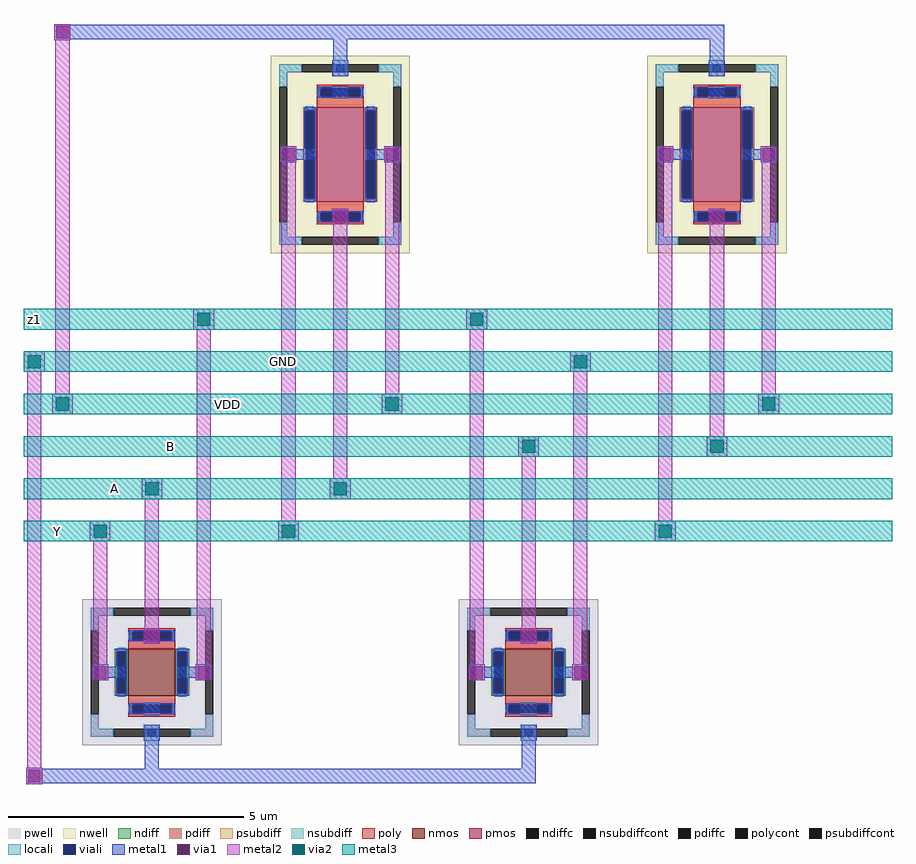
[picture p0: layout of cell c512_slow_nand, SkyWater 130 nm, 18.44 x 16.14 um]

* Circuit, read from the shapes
.subckt c512_slow_nand Y A B VDD GND
XM1 z1 A Y GND sky130_fd_pr__nfet_01v8 w=1 l=1
XM2 GND B z1 GND sky130_fd_pr__nfet_01v8 w=1 l=1
XM3 VDD A Y VDD sky130_fd_pr__pfet_01v8 w=2 l=1
XM4 VDD B Y VDD sky130_fd_pr__pfet_01v8 w=2 l=1
.ends

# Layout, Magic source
magic
tech sky130A
magscale 1 2
<< nwell >>
rect 1104 1781 1696 2619
rect 2704 1781 3296 2619
<< pmos >>
rect 1300 2000 1500 2400
rect 2900 2000 3100 2400
<< pdiff >>
rect 1242 2388 1300 2400
rect 1242 2012 1254 2388
rect 1288 2012 1300 2388
rect 1242 2000 1300 2012
rect 1500 2388 1558 2400
rect 1500 2012 1512 2388
rect 1546 2012 1558 2388
rect 1500 2000 1558 2012
rect 2842 2388 2900 2400
rect 2842 2012 2854 2388
rect 2888 2012 2900 2388
rect 2842 2000 2900 2012
rect 3100 2388 3158 2400
rect 3100 2012 3112 2388
rect 3146 2012 3158 2388
rect 3100 2000 3158 2012
<< pdiffc >>
rect 1254 2012 1288 2388
rect 1512 2012 1546 2388
rect 2854 2012 2888 2388
rect 3112 2012 3146 2388
<< nsubdiff >>
rect 1140 2549 1236 2583
rect 1564 2549 1660 2583
rect 1140 2487 1174 2549
rect 1626 2487 1660 2549
rect 1140 1851 1174 1913
rect 1626 1851 1660 1913
rect 1140 1817 1236 1851
rect 1564 1817 1660 1851
rect 2740 2549 2836 2583
rect 3164 2549 3260 2583
rect 2740 2487 2774 2549
rect 3226 2487 3260 2549
rect 2740 1851 2774 1913
rect 3226 1851 3260 1913
rect 2740 1817 2836 1851
rect 3164 1817 3260 1851
<< nsubdiffcont >>
rect 1236 2549 1564 2583
rect 1140 1913 1174 2487
rect 1626 1913 1660 2487
rect 1236 1817 1564 1851
rect 2836 2549 3164 2583
rect 2740 1913 2774 2487
rect 3226 1913 3260 2487
rect 2836 1817 3164 1851
<< poly >>
rect 1300 2481 1500 2497
rect 1300 2447 1316 2481
rect 1484 2447 1500 2481
rect 1300 2400 1500 2447
rect 1300 1953 1500 2000
rect 1300 1919 1316 1953
rect 1484 1919 1500 1953
rect 1300 1903 1500 1919
rect 2900 2481 3100 2497
rect 2900 2447 2916 2481
rect 3084 2447 3100 2481
rect 2900 2400 3100 2447
rect 2900 1953 3100 2000
rect 2900 1919 2916 1953
rect 3084 1919 3100 1953
rect 2900 1903 3100 1919
rect 500 172 700 188
rect 500 138 516 172
rect 684 138 700 172
rect 500 100 700 138
rect 500 -138 700 -100
rect 500 -172 516 -138
rect 684 -172 700 -138
rect 500 -188 700 -172
rect 2100 172 2300 188
rect 2100 138 2116 172
rect 2284 138 2300 172
rect 2100 100 2300 138
rect 2100 -138 2300 -100
rect 2100 -172 2116 -138
rect 2284 -172 2300 -138
rect 2100 -188 2300 -172
<< polycont >>
rect 1316 2447 1484 2481
rect 1316 1919 1484 1953
rect 2916 2447 3084 2481
rect 2916 1919 3084 1953
rect 516 138 684 172
rect 516 -172 684 -138
rect 2116 138 2284 172
rect 2116 -172 2284 -138
<< locali >>
rect 1140 2549 1236 2583
rect 1564 2549 1660 2583
rect 1140 2487 1174 2549
rect 1626 2487 1660 2549
rect 1300 2447 1316 2481
rect 1484 2447 1500 2481
rect 1254 2388 1288 2404
rect 1254 1996 1288 2012
rect 1512 2388 1546 2404
rect 1512 1996 1546 2012
rect 1300 1919 1316 1953
rect 1484 1919 1500 1953
rect 1140 1851 1174 1913
rect 1626 1851 1660 1913
rect 1140 1817 1236 1851
rect 1564 1817 1660 1851
rect 1366 2532 1434 2600
rect 2740 2549 2836 2583
rect 3164 2549 3260 2583
rect 2740 2487 2774 2549
rect 3226 2487 3260 2549
rect 2900 2447 2916 2481
rect 3084 2447 3100 2481
rect 2854 2388 2888 2404
rect 2854 1996 2888 2012
rect 3112 2388 3146 2404
rect 3112 1996 3146 2012
rect 2900 1919 2916 1953
rect 3084 1919 3100 1953
rect 2740 1851 2774 1913
rect 3226 1851 3260 1913
rect 2740 1817 2836 1851
rect 3164 1817 3260 1851
rect 2966 2532 3034 2600
rect 340 240 436 274
rect 764 240 860 274
rect 340 178 374 240
rect 826 178 860 240
rect 500 138 516 172
rect 684 138 700 172
rect 454 88 488 104
rect 454 -104 488 -88
rect 712 88 746 104
rect 712 -104 746 -88
rect 500 -172 516 -138
rect 684 -172 700 -138
rect 340 -240 374 -178
rect 826 -240 860 -178
rect 340 -274 436 -240
rect 764 -274 860 -240
rect 566 -291 634 -223
rect 1940 240 2036 274
rect 2364 240 2460 274
rect 1940 178 1974 240
rect 2426 178 2460 240
rect 2100 138 2116 172
rect 2284 138 2300 172
rect 2054 88 2088 104
rect 2054 -104 2088 -88
rect 2312 88 2346 104
rect 2312 -104 2346 -88
rect 2100 -172 2116 -138
rect 2284 -172 2300 -138
rect 1940 -240 1974 -178
rect 2426 -240 2460 -178
rect 1940 -274 2036 -240
rect 2364 -274 2460 -240
rect 2166 -291 2234 -223
<< viali >>
rect 1316 2447 1484 2481
rect 1254 2012 1288 2388
rect 1512 2012 1546 2388
rect 1316 1919 1484 1953
rect 1383 2549 1417 2583
rect 2916 2447 3084 2481
rect 2854 2012 2888 2388
rect 3112 2012 3146 2388
rect 2916 1919 3084 1953
rect 2983 2549 3017 2583
rect 516 138 684 172
rect 454 -88 488 88
rect 712 -88 746 88
rect 516 -172 684 -138
rect 583 -274 617 -240
rect 2116 138 2284 172
rect 2054 -88 2088 88
rect 2312 -88 2346 88
rect 2116 -172 2284 -138
rect 2183 -274 2217 -240
<< metal1 >>
rect 1304 2481 1496 2487
rect 1304 2447 1316 2481
rect 1484 2447 1496 2481
rect 1304 2441 1496 2447
rect 1248 2388 1294 2400
rect 1248 2012 1254 2388
rect 1288 2012 1294 2388
rect 1248 2000 1294 2012
rect 1506 2388 1552 2400
rect 1506 2012 1512 2388
rect 1546 2012 1552 2388
rect 1506 2000 1552 2012
rect 1304 1953 1496 1959
rect 1304 1919 1316 1953
rect 1484 1919 1496 1953
rect 1304 1913 1496 1919
rect 1366 1910 1434 1962
rect 1366 2438 1434 2490
rect 1157 2177 1294 2223
rect 1146 2166 1214 2234
rect 1506 2177 1643 2223
rect 1586 2166 1654 2234
rect 1366 1910 1434 1962
rect 1366 2532 1434 2600
rect 1370 2536 1430 2750
rect 2904 2481 3096 2487
rect 2904 2447 2916 2481
rect 3084 2447 3096 2481
rect 2904 2441 3096 2447
rect 2848 2388 2894 2400
rect 2848 2012 2854 2388
rect 2888 2012 2894 2388
rect 2848 2000 2894 2012
rect 3106 2388 3152 2400
rect 3106 2012 3112 2388
rect 3146 2012 3152 2388
rect 3106 2000 3152 2012
rect 2904 1953 3096 1959
rect 2904 1919 2916 1953
rect 3084 1919 3096 1953
rect 2904 1913 3096 1919
rect 2966 1910 3034 1962
rect 2966 2438 3034 2490
rect 2757 2177 2894 2223
rect 2746 2166 2814 2234
rect 3106 2177 3243 2223
rect 3186 2166 3254 2234
rect 2966 1910 3034 1962
rect 2966 2532 3034 2600
rect 2970 2536 3030 2750
rect 504 172 696 178
rect 504 138 516 172
rect 684 138 696 172
rect 504 132 696 138
rect 448 88 494 100
rect 448 -88 454 88
rect 488 -88 494 88
rect 448 -100 494 -88
rect 706 88 752 100
rect 706 -88 712 88
rect 746 -88 752 88
rect 706 -100 752 -88
rect 504 -138 696 -132
rect 504 -172 516 -138
rect 684 -172 696 -138
rect 504 -178 696 -172
rect 566 -181 634 -129
rect 566 129 634 181
rect 357 -23 494 23
rect 346 -34 414 34
rect 706 -23 843 23
rect 786 -34 854 34
rect 566 129 634 181
rect 566 -291 634 -223
rect 570 -470 630 -227
rect 2104 172 2296 178
rect 2104 138 2116 172
rect 2284 138 2296 172
rect 2104 132 2296 138
rect 2048 88 2094 100
rect 2048 -88 2054 88
rect 2088 -88 2094 88
rect 2048 -100 2094 -88
rect 2306 88 2352 100
rect 2306 -88 2312 88
rect 2346 -88 2352 88
rect 2306 -100 2352 -88
rect 2104 -138 2296 -132
rect 2104 -172 2116 -138
rect 2284 -172 2296 -138
rect 2104 -178 2296 -172
rect 2166 -181 2234 -129
rect 2166 129 2234 181
rect 1957 -23 2094 23
rect 1946 -34 2014 34
rect 2306 -23 2443 23
rect 2386 -34 2454 34
rect 2166 129 2234 181
rect 2166 -291 2234 -223
rect 2170 -470 2230 -227
rect 190 2690 3030 2750
rect 186 2686 254 2754
rect 70 -470 2230 -410
rect 66 -474 134 -406
<< via1 >>
rect 1154 2174 1206 2226
rect 1594 2174 1646 2226
rect 1374 1910 1426 1962
rect 2754 2174 2806 2226
rect 3194 2174 3246 2226
rect 2974 1910 3026 1962
rect 354 -26 406 26
rect 794 -26 846 26
rect 574 129 626 181
rect 1954 -26 2006 26
rect 2394 -26 2446 26
rect 2174 129 2226 181
rect 194 2694 246 2746
rect 74 -466 126 -414
<< metal2 >>
rect 1146 2166 1214 2234
rect 1586 2166 1654 2234
rect 1366 1902 1434 1970
rect 2746 2166 2814 2234
rect 3186 2166 3254 2234
rect 2966 1902 3034 1970
rect 346 -34 414 34
rect 786 -34 854 34
rect 566 121 634 189
rect 1946 -34 2014 34
rect 2386 -34 2454 34
rect 2166 121 2234 189
rect 186 2686 254 2754
rect 66 -474 134 -406
rect 1150 570 1210 2230
rect 1136 556 1224 644
rect 2750 570 2810 2230
rect 2736 556 2824 644
rect 350 -30 410 630
rect 336 556 424 644
rect 1590 1110 1650 2230
rect 1576 1096 1664 1184
rect 3190 1110 3250 2230
rect 3176 1096 3264 1184
rect 190 1110 250 2750
rect 176 1096 264 1184
rect 1370 750 1430 1966
rect 1356 736 1444 824
rect 570 125 630 810
rect 556 736 644 824
rect 2970 930 3030 1966
rect 2956 916 3044 1004
rect 2170 125 2230 990
rect 2156 916 2244 1004
rect 790 -30 850 1530
rect 776 1456 864 1544
rect 1950 -30 2010 1530
rect 1936 1456 2024 1544
rect 2390 -30 2450 1350
rect 2376 1276 2464 1364
rect 70 -470 130 1350
rect 56 1276 144 1364
<< pwell >>
rect 304 -310 896 310
rect 1904 -310 2496 310
<< nmos >>
rect 500 -100 700 100
rect 2100 -100 2300 100
<< ndiff >>
rect 442 88 500 100
rect 442 -88 454 88
rect 488 -88 500 88
rect 442 -100 500 -88
rect 700 88 758 100
rect 700 -88 712 88
rect 746 -88 758 88
rect 700 -100 758 -88
rect 2042 88 2100 100
rect 2042 -88 2054 88
rect 2088 -88 2100 88
rect 2042 -100 2100 -88
rect 2300 88 2358 100
rect 2300 -88 2312 88
rect 2346 -88 2358 88
rect 2300 -100 2358 -88
<< ndiffc >>
rect 454 -88 488 88
rect 712 -88 746 88
rect 2054 -88 2088 88
rect 2312 -88 2346 88
<< psubdiff >>
rect 340 240 436 274
rect 764 240 860 274
rect 340 178 374 240
rect 826 178 860 240
rect 340 -240 374 -178
rect 826 -240 860 -178
rect 340 -274 436 -240
rect 764 -274 860 -240
rect 1940 240 2036 274
rect 2364 240 2460 274
rect 1940 178 1974 240
rect 2426 178 2460 240
rect 1940 -240 1974 -178
rect 2426 -240 2460 -178
rect 1940 -274 2036 -240
rect 2364 -274 2460 -240
<< psubdiffcont >>
rect 436 240 764 274
rect 340 -178 374 178
rect 826 -178 860 178
rect 436 -274 764 -240
rect 2036 240 2364 274
rect 1940 -178 1974 178
rect 2426 -178 2460 178
rect 2036 -274 2364 -240
<< metal3 >>
rect 56 556 3744 644
rect 1136 556 1224 644
rect 2736 556 2824 644
rect 336 556 424 644
rect 56 1096 3744 1184
rect 1576 1096 1664 1184
rect 3176 1096 3264 1184
rect 176 1096 264 1184
rect 56 736 3744 824
rect 1356 736 1444 824
rect 556 736 644 824
rect 56 916 3744 1004
rect 2956 916 3044 1004
rect 2156 916 2244 1004
rect 56 1456 3744 1544
rect 776 1456 864 1544
rect 1936 1456 2024 1544
rect 56 1276 3744 1364
rect 2376 1276 2464 1364
rect 56 1276 144 1364
<< via2 >>
rect 1152 572 1208 628
rect 2752 572 2808 628
rect 352 572 408 628
rect 1592 1112 1648 1168
rect 3192 1112 3248 1168
rect 192 1112 248 1168
rect 1372 752 1428 808
rect 572 752 628 808
rect 2972 932 3028 988
rect 2172 932 2228 988
rect 792 1472 848 1528
rect 1952 1472 2008 1528
rect 2392 1292 2448 1348
rect 72 1292 128 1348
<< labels >>
rlabel metal3 200 600 200 600 0 Y
port 1 nsew signal bidirectional
rlabel metal3 920 1140 920 1140 0 VDD
port 4 nsew signal bidirectional
rlabel metal3 440 780 440 780 0 A
port 2 nsew signal bidirectional
rlabel metal3 680 960 680 960 0 B
port 3 nsew signal bidirectional
rlabel metal3 100 1500 100 1500 0 z1
rlabel metal3 1160 1320 1160 1320 0 GND
port 5 nsew signal bidirectional
<< end >>
